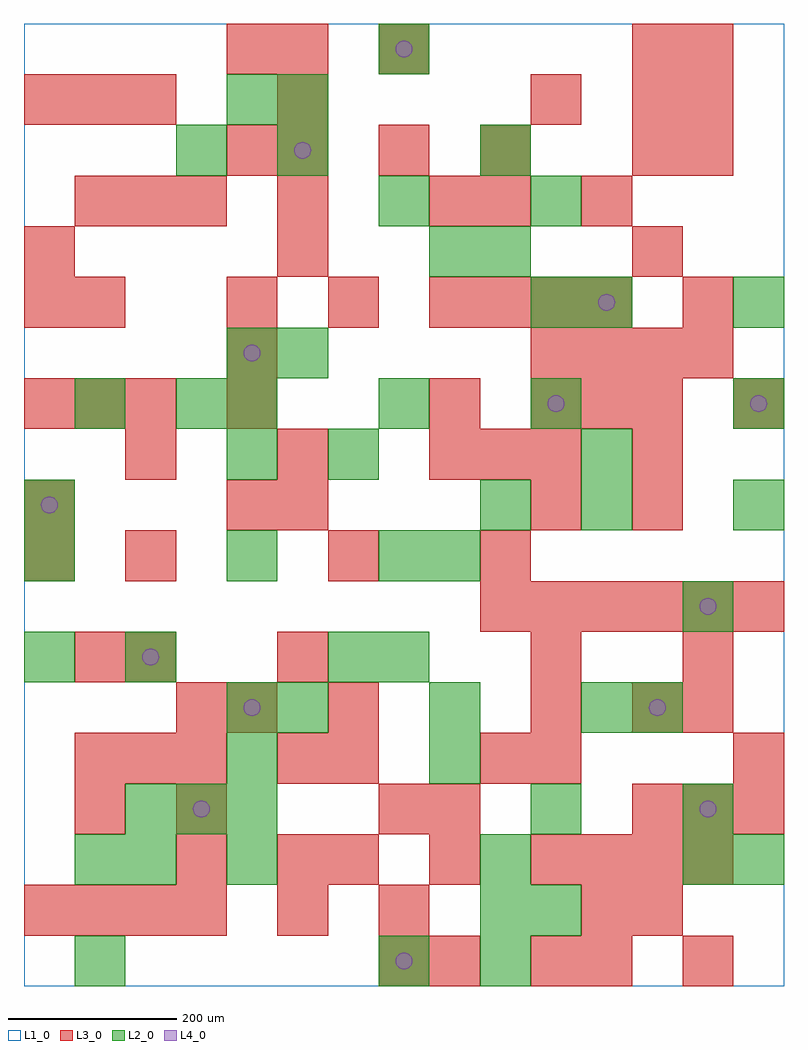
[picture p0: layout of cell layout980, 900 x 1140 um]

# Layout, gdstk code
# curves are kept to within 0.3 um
import gdstk
lib = gdstk.Library(unit=1e-6, precision=1e-09)
def R(c, l, rs):  # rectangles x0, y0, x1, y1
    for r in rs: c.add(gdstk.rectangle(r[:2], r[2:], *l))
def A(c, l, x, y, w, h, nx, ny, dx, dy):  # array of equal rectangles
    R(c, l, [(x+i*dx, y+j*dy, x+i*dx+w, y+j*dy+h) for i in range(nx) for j in range(ny)])
def P(c, l, *ps):  # polygons
    for p in ps: c.add(gdstk.Polygon(p, *l))
L1_0 = (1, 0)
L2_0 = (2, 0)
L3_0 = (3, 0)
L4_0 = (4, 0)

layout980 = lib.new_cell('layout980')
R(layout980, L1_0, [(0,0,900,1140)])
A(layout980, L2_0, 540, 0, 60, 60, 1, 3, 0, 60)
A(layout980, L2_0, 120, 180, 60, 60, 3, 1, 60, 0)
A(layout980, L2_0, 300, 300, 60, 60, 3, 1, 180, 0)
A(layout980, L2_0, 240, 480, 60, 60, 1, 3, 0, 120)
A(layout980, L2_0, 840, 540, 60, 60, 1, 3, 0, 120)
A(layout980, L2_0, 240, 660, 60, 60, 3, 1, 180, 0)
R(layout980, L2_0, [(60,0,120,60), (420,0,480,60), (600,60,660,120), (60,120,120,180), (120,120,180,180), (240,120,300,180), (780,120,840,180), (840,120,900,180), (600,180,660,240), (780,180,840,240), (240,240,300,300), (480,240,540,300), (240,300,300,360), (720,300,780,360), (0,360,60,420), (120,360,180,420), (360,360,420,420), (420,360,480,420), (780,420,840,480), (0,480,60,540), (420,480,480,540), (480,480,540,540), (0,540,60,600), (540,540,600,600), (660,540,720,600), (360,600,420,660), (660,600,720,660), (60,660,120,720), (180,660,240,720), (300,720,360,780), (600,780,660,840), (660,780,720,840), (480,840,540,900), (540,840,600,900), (420,900,480,960), (600,900,660,960), (180,960,240,1020), (300,960,360,1020), (540,960,600,1020), (240,1020,300,1080), (300,1020,360,1080), (420,1080,480,1140)])
A(layout980, L3_0, 0, 60, 60, 60, 4, 1, 60, 0)
A(layout980, L3_0, 720, 60, 60, 60, 1, 3, 0, 240)
A(layout980, L3_0, 300, 120, 60, 60, 1, 3, 0, 120)
A(layout980, L3_0, 360, 120, 60, 60, 3, 1, 120, 0)
A(layout980, L3_0, 660, 120, 60, 60, 3, 1, 60, 0)
A(layout980, L3_0, 720, 180, 60, 60, 3, 1, 60, 0)
A(layout980, L3_0, 60, 240, 60, 60, 3, 2, 60, 660)
A(layout980, L3_0, 600, 240, 60, 60, 1, 3, 0, 60)
A(layout980, L3_0, 540, 420, 60, 60, 6, 1, 60, 0)
A(layout980, L3_0, 120, 600, 60, 60, 3, 1, 180, 0)
A(layout980, L3_0, 0, 660, 60, 60, 3, 2, 60, 360)
A(layout980, L3_0, 600, 660, 60, 60, 3, 1, 60, 0)
A(layout980, L3_0, 600, 720, 60, 60, 4, 1, 60, 0)
A(layout980, L3_0, 240, 780, 60, 60, 3, 1, 120, 0)
A(layout980, L3_0, 540, 780, 60, 60, 3, 1, 60, 0)
A(layout980, L3_0, 300, 960, 60, 60, 3, 1, 120, 0)
A(layout980, L3_0, 720, 960, 60, 60, 1, 3, 0, 60)
A(layout980, L3_0, 780, 960, 60, 60, 1, 3, 0, 60)
R(layout980, L3_0, [(420,0,480,60), (480,0,540,60), (600,0,660,60), (660,0,720,60), (780,0,840,60), (300,60,360,120), (420,60,480,120), (660,60,720,120), (180,120,240,180), (60,180,120,240), (180,180,240,240), (420,180,480,240), (480,180,540,240), (360,240,420,300), (540,240,600,300), (840,240,900,300), (180,300,240,360), (240,300,300,360), (360,300,420,360), (780,300,840,360), (60,360,120,420), (120,360,180,420), (780,360,840,420), (0,480,60,540), (120,480,180,540), (360,480,420,540), (540,480,600,540), (0,540,60,600), (240,540,300,600), (300,540,360,600), (600,540,660,600), (540,600,600,660), (600,600,660,660), (720,600,780,660), (240,660,300,720), (480,660,540,720), (840,660,900,720), (240,720,300,780), (0,780,60,840), (60,780,120,840), (780,780,840,840), (0,840,60,900), (300,840,360,900), (720,840,780,900), (300,900,360,960), (480,900,540,960), (540,900,600,960), (660,900,720,960), (240,960,300,1020), (300,1020,360,1080), (600,1020,660,1080), (240,1080,300,1140), (300,1080,360,1140), (420,1080,480,1140)])
P(layout980, L4_0, [(40,570),(39.239,573.827),(37.071,577.071),(33.827,579.239),(30,580),(26.173,579.239),(22.929,577.071),(20.761,573.827),(20,570),(20.761,566.173),(22.929,562.929),(26.173,560.761),(30,560),(33.827,560.761),(37.071,562.929),(39.239,566.173)],
  [(160,390),(159.239,393.827),(157.071,397.071),(153.827,399.239),(150,400),(146.173,399.239),(142.929,397.071),(140.761,393.827),(140,390),(140.761,386.173),(142.929,382.929),(146.173,380.761),(150,380),(153.827,380.761),(157.071,382.929),(159.239,386.173)],
  [(220,210),(219.239,213.827),(217.071,217.071),(213.827,219.239),(210,220),(206.173,219.239),(202.929,217.071),(200.761,213.827),(200,210),(200.761,206.173),(202.929,202.929),(206.173,200.761),(210,200),(213.827,200.761),(217.071,202.929),(219.239,206.173)],
  [(280,330),(279.239,333.827),(277.071,337.071),(273.827,339.239),(270,340),(266.173,339.239),(262.929,337.071),(260.761,333.827),(260,330),(260.761,326.173),(262.929,322.929),(266.173,320.761),(270,320),(273.827,320.761),(277.071,322.929),(279.239,326.173)],
  [(280,750),(279.239,753.827),(277.071,757.071),(273.827,759.239),(270,760),(266.173,759.239),(262.929,757.071),(260.761,753.827),(260,750),(260.761,746.173),(262.929,742.929),(266.173,740.761),(270,740),(273.827,740.761),(277.071,742.929),(279.239,746.173)],
  [(340,990),(339.239,993.827),(337.071,997.071),(333.827,999.239),(330,1000),(326.173,999.239),(322.929,997.071),(320.761,993.827),(320,990),(320.761,986.173),(322.929,982.929),(326.173,980.761),(330,980),(333.827,980.761),(337.071,982.929),(339.239,986.173)],
  [(460,30),(459.239,33.827),(457.071,37.071),(453.827,39.239),(450,40),(446.173,39.239),(442.929,37.071),(440.761,33.827),(440,30),(440.761,26.173),(442.929,22.929),(446.173,20.761),(450,20),(453.827,20.761),(457.071,22.929),(459.239,26.173)],
  [(460,1110),(459.239,1113.827),(457.071,1117.071),(453.827,1119.239),(450,1120),(446.173,1119.239),(442.929,1117.071),(440.761,1113.827),(440,1110),(440.761,1106.173),(442.929,1102.929),(446.173,1100.761),(450,1100),(453.827,1100.761),(457.071,1102.929),(459.239,1106.173)],
  [(640,690),(639.239,693.827),(637.071,697.071),(633.827,699.239),(630,700),(626.173,699.239),(622.929,697.071),(620.761,693.827),(620,690),(620.761,686.173),(622.929,682.929),(626.173,680.761),(630,680),(633.827,680.761),(637.071,682.929),(639.239,686.173)],
  [(700,810),(699.239,813.827),(697.071,817.071),(693.827,819.239),(690,820),(686.173,819.239),(682.929,817.071),(680.761,813.827),(680,810),(680.761,806.173),(682.929,802.929),(686.173,800.761),(690,800),(693.827,800.761),(697.071,802.929),(699.239,806.173)],
  [(760,330),(759.239,333.827),(757.071,337.071),(753.827,339.239),(750,340),(746.173,339.239),(742.929,337.071),(740.761,333.827),(740,330),(740.761,326.173),(742.929,322.929),(746.173,320.761),(750,320),(753.827,320.761),(757.071,322.929),(759.239,326.173)],
  [(820,210),(819.239,213.827),(817.071,217.071),(813.827,219.239),(810,220),(806.173,219.239),(802.929,217.071),(800.761,213.827),(800,210),(800.761,206.173),(802.929,202.929),(806.173,200.761),(810,200),(813.827,200.761),(817.071,202.929),(819.239,206.173)],
  [(820,450),(819.239,453.827),(817.071,457.071),(813.827,459.239),(810,460),(806.173,459.239),(802.929,457.071),(800.761,453.827),(800,450),(800.761,446.173),(802.929,442.929),(806.173,440.761),(810,440),(813.827,440.761),(817.071,442.929),(819.239,446.173)],
  [(880,690),(879.239,693.827),(877.071,697.071),(873.827,699.239),(870,700),(866.173,699.239),(862.929,697.071),(860.761,693.827),(860,690),(860.761,686.173),(862.929,682.929),(866.173,680.761),(870,680),(873.827,680.761),(877.071,682.929),(879.239,686.173)])

lib.write_gds('layout980.gds')
